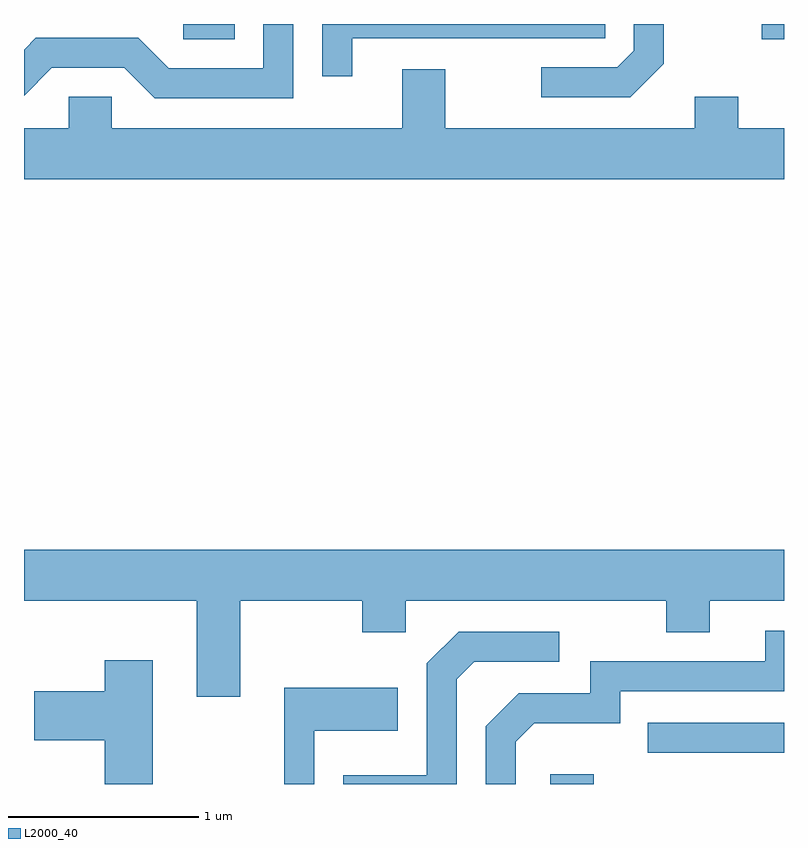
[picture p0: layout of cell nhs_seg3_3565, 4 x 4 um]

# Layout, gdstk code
import gdstk
lib = gdstk.Library(unit=1e-6, precision=1e-09)
def R(c, l, rs):  # rectangles x0, y0, x1, y1
    for r in rs: c.add(gdstk.rectangle(r[:2], r[2:], *l))
def P(c, l, *ps):  # polygons
    for p in ps: c.add(gdstk.Polygon(p, *l))
L2000_40 = (2000, 40)

nhs_seg3_3565 = lib.new_cell('nhs_seg3_3565')
R(nhs_seg3_3565, L2000_40, [(292.381,1173.892,292.609,1173.944), (292.893,1174.056,293.611,1174.214), (290.448,1177.811,290.719,1177.892), (293.493,1177.811,293.611,1177.892)])
P(nhs_seg3_3565, L2000_40, [(292.979,1177.684),(292.979,1177.892),(292.821,1177.892),(292.821,1177.752),(292.734,1177.664),(292.333,1177.664),(292.333,1177.506),(292.802,1177.506)],
  [(291.339,1177.816),(292.669,1177.816),(292.669,1177.892),(291.181,1177.892),(291.181,1177.618),(291.339,1177.618)],
  [(291.029,1177.892),(290.871,1177.892),(290.871,1177.659),(290.372,1177.659),(290.212,1177.819),(289.674,1177.819),(289.611,1177.756),(289.611,1177.515),(289.757,1177.661),(290.139,1177.661),(290.299,1177.501),(291.029,1177.501)],
  [(293.611,1177.344),(293.369,1177.344),(293.369,1177.509),(293.141,1177.509),(293.141,1177.344),(291.829,1177.344),(291.829,1177.654),(291.601,1177.654),(291.601,1177.344),(290.074,1177.344),(290.074,1177.509),(289.846,1177.509),(289.846,1177.344),(289.611,1177.344),(289.611,1177.076),(293.611,1177.076)],
  [(290.749,1174.856),(291.391,1174.856),(291.391,1174.691),(291.619,1174.691),(291.619,1174.856),(292.991,1174.856),(292.991,1174.691),(293.219,1174.691),(293.219,1174.856),(293.611,1174.856),(293.611,1175.124),(289.611,1175.124),(289.611,1174.856),(290.521,1174.856),(290.521,1174.351),(290.749,1174.351)],
  [(292.199,1174.114),(292.297,1174.211),(292.749,1174.211),(292.749,1174.381),(293.611,1174.381),(293.611,1174.699),(293.511,1174.699),(293.511,1174.539),(292.591,1174.539),(292.591,1174.369),(292.214,1174.369),(292.041,1174.197),(292.041,1173.892),(292.199,1173.892)],
  [(291.889,1174.444),(291.982,1174.536),(292.428,1174.536),(292.428,1174.694),(291.899,1174.694),(291.731,1174.527),(291.731,1173.939),(291.291,1173.939),(291.291,1173.892),(291.889,1173.892)],
  [(290.289,1174.544),(290.036,1174.544),(290.036,1174.379),(289.666,1174.379),(289.666,1174.121),(290.036,1174.121),(290.036,1173.892),(290.289,1173.892)],
  [(291.139,1174.171),(291.579,1174.171),(291.579,1174.399),(290.981,1174.399),(290.981,1173.892),(291.139,1173.892)])

lib.write_gds('nhs_seg3_3565.gds')
